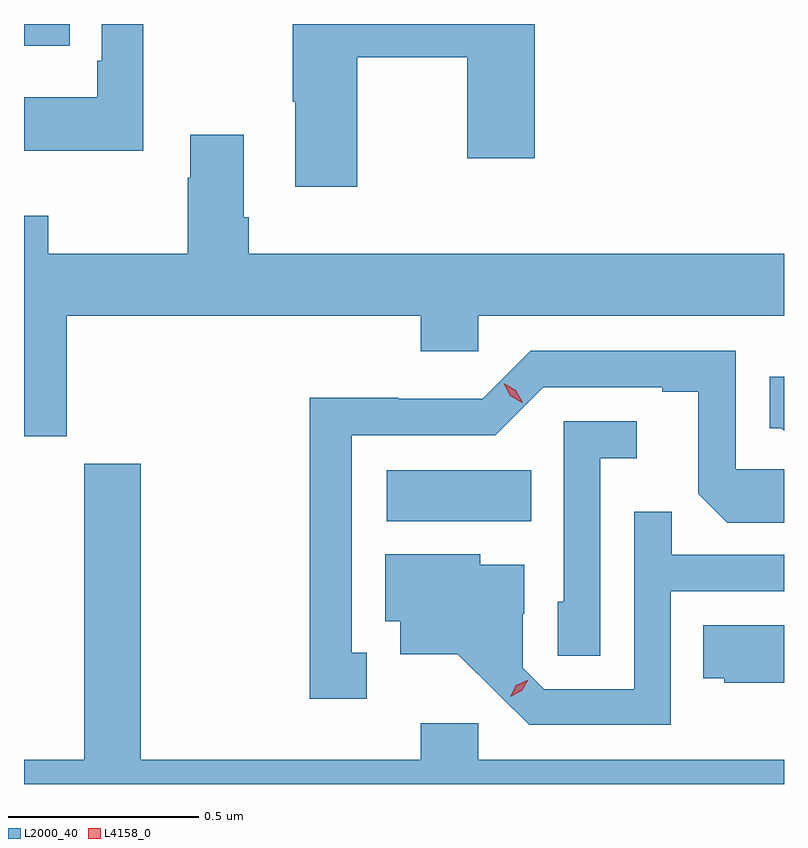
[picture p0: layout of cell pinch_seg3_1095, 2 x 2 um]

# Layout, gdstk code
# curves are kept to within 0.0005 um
import gdstk
lib = gdstk.Library(unit=1e-6, precision=1e-09)
def R(c, l, rs):  # rectangles x0, y0, x1, y1
    for r in rs: c.add(gdstk.rectangle(r[:2], r[2:], *l))
def P(c, l, *ps):  # polygons
    for p in ps: c.add(gdstk.Polygon(p, *l))
L2000_40 = (2000, 40)
L4158_0 = (4158, 0)

pinch_seg3_1095 = lib.new_cell('pinch_seg3_1095')
R(pinch_seg3_1095, L2000_40, [(317.862,683.06,318.242,683.194), (316.907,684.311,317.027,684.368)])
P(pinch_seg3_1095, L2000_40, [(317.784,684.28),(318.073,684.28),(318.073,684.015),(318.251,684.015),(318.251,684.368),(317.614,684.368),(317.614,684.163),(317.621,684.163),(317.621,683.94),(317.784,683.94)],
  [(317.221,684.368),(317.112,684.368),(317.112,684.271),(317.1,684.271),(317.1,684.175),(316.907,684.175),(316.907,684.035),(317.221,684.035)],
  [(317.02,683.6),(317.951,683.6),(317.951,683.507),(318.102,683.507),(318.102,683.6),(318.907,683.6),(318.907,683.764),(317.498,683.764),(317.498,683.86),(317.485,683.86),(317.485,684.076),(317.345,684.076),(317.345,683.963),(317.338,683.963),(317.338,683.764),(316.971,683.764),(316.971,683.863),(316.907,683.863),(316.907,683.283),(317.02,683.283)],
  [(317.809,682.713),(317.77,682.713),(317.77,683.286),(318.147,683.286),(318.273,683.412),(318.587,683.412),(318.587,683.4),(318.681,683.4),(318.681,683.132),(318.757,683.056),(318.907,683.056),(318.907,683.196),(318.78,683.196),(318.78,683.508),(318.24,683.508),(318.114,683.382),(317.892,683.382),(317.892,683.384),(317.659,683.384),(317.659,682.593),(317.809,682.593)],
  [(318.907,683.44),(318.869,683.44),(318.869,683.304),(318.9,683.304),(318.907,683.297)],
  [(318.423,683.225),(318.52,683.225),(318.52,683.322),(318.327,683.322),(318.327,682.848),(318.312,682.848),(318.312,682.705),(318.423,682.705)],
  [(318.907,682.432),(318.102,682.432),(318.102,682.528),(317.951,682.528),(317.951,682.432),(317.214,682.432),(317.214,683.211),(317.066,683.211),(317.066,682.432),(316.907,682.432),(316.907,682.368),(318.907,682.368)],
  [(318.609,682.875),(318.907,682.875),(318.907,682.971),(318.611,682.971),(318.611,683.084),(318.513,683.084),(318.513,682.617),(318.276,682.617),(318.219,682.674),(318.219,682.816),(318.223,682.816),(318.223,682.945),(318.108,682.945),(318.108,682.972),(317.858,682.972),(317.858,682.796),(317.897,682.796),(317.897,682.709),(318.049,682.709),(318.236,682.524),(318.609,682.524)],
  [(318.907,682.786),(318.694,682.786),(318.694,682.646),(318.75,682.646),(318.75,682.634),(318.907,682.634)])
P(pinch_seg3_1095, L4158_0, [(318.218,683.371),(318.187,683.39),(318.169,683.422),(318.169,683.423),(318.17,683.423),(318.201,683.404),(318.219,683.371),(318.219,683.371)],
  [(318.186,682.598),(318.186,682.598),(318.203,682.628),(318.234,682.642),(318.234,682.642),(318.234,682.642),(318.217,682.613),(318.186,682.598)])

lib.write_gds('pinch_seg3_1095.gds')
